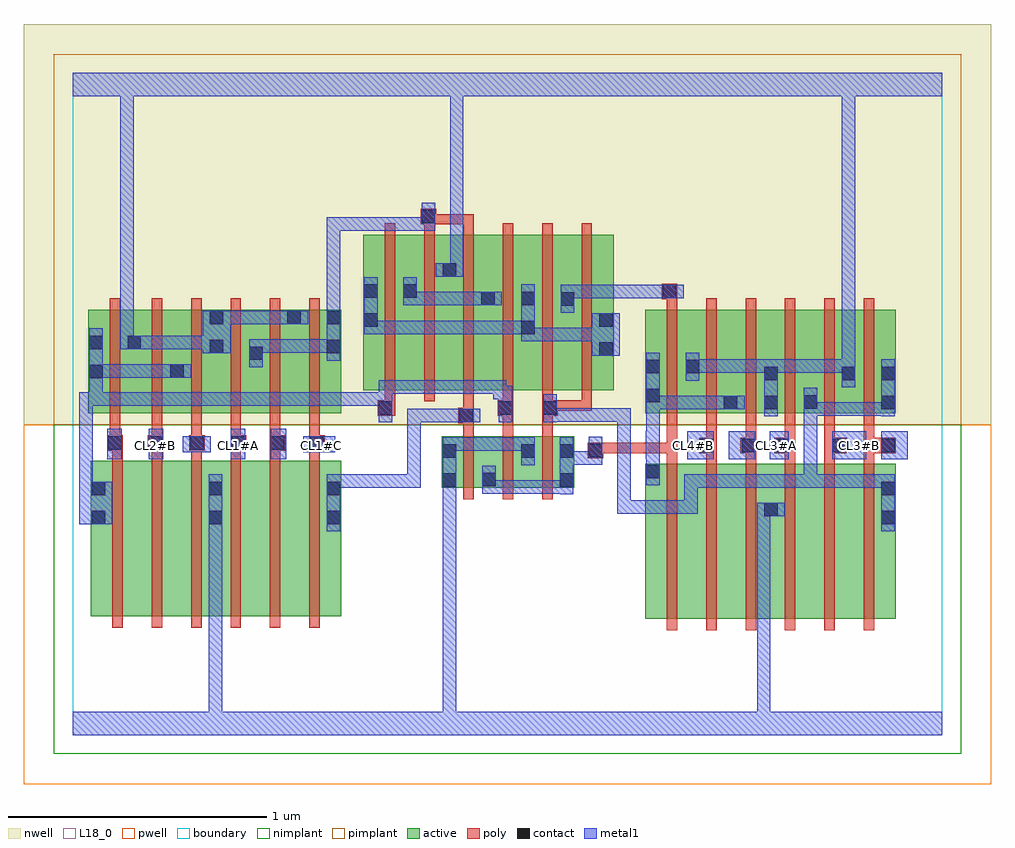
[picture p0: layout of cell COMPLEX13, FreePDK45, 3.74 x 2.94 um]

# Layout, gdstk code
import gdstk
lib = gdstk.Library(unit=1e-6, precision=1e-09)
def R(c, l, rs):  # rectangles x0, y0, x1, y1
    for r in rs: c.add(gdstk.rectangle(r[:2], r[2:], *l))
def A(c, l, x, y, w, h, nx, ny, dx, dy):  # array of equal rectangles
    R(c, l, [(x+i*dx, y+j*dy, x+i*dx+w, y+j*dy+h) for i in range(nx) for j in range(ny)])
active = (1, 0)
pwell = (2, 0)
nwell = (3, 0)
nimplant = (4, 0)
pimplant = (5, 0)
poly = (9, 0)
contact = (10, 0)
metal1 = (11, 0)
L18_0 = (18, 0)
boundary = (235, 0)

complex13 = lib.new_cell('COMPLEX13')
A(complex13, active, 1.426, 0.956, 0.06, 0.2, 3, 1, 0.152, 0)
R(complex13, active, [(2.212,0.45,2.392,1.05), (2.392,0.45,2.544,1.05), (2.544,0.45,2.728,1.05), (2.668,0.45,2.848,1.05), (2.848,0.45,3,1.05), (3,0.45,3.18,1.05), (0.07,0.46,0.25,1.06), (0.25,0.46,0.402,1.06), (0.402,0.46,0.582,1.06), (0.522,0.46,0.706,1.06), (0.522,0.46,0.582,1.06), (0.706,0.46,0.858,1.06), (0.858,0.46,1.038,1.06), (0.07,0.556,0.13,1.06), (0.978,0.556,1.038,1.06), (2.212,0.556,2.272,1.05), (2.668,0.556,2.728,0.956), (3.12,0.556,3.18,1.05), (1.426,0.956,1.638,1.156), (1.578,0.956,1.79,1.156), (1.73,0.956,1.938,1.156), (1.878,0.956,1.938,1.156), (0.06,1.244,0.12,1.644), (0.06,1.244,0.268,1.644), (0.208,1.244,0.268,1.644), (0.208,1.244,0.434,1.644), (0.374,1.244,0.586,1.644), (0.526,1.244,0.586,1.644), (0.526,1.244,0.738,1.644), (0.678,1.244,0.738,1.644), (0.678,1.244,0.886,1.644), (0.826,1.244,0.886,1.644), (0.826,1.244,1.038,1.644), (0.978,1.244,1.038,1.644), (2.212,1.244,2.272,1.644), (2.212,1.244,2.424,1.644), (2.364,1.244,2.424,1.644), (2.364,1.244,2.572,1.644), (2.512,1.244,2.572,1.644), (2.512,1.244,2.728,1.644), (2.668,1.244,2.728,1.644), (2.668,1.244,2.88,1.644), (2.82,1.244,2.88,1.644), (2.82,1.244,3.028,1.644), (2.968,1.244,3.028,1.644), (2.968,1.244,3.18,1.644), (3.12,1.244,3.18,1.644), (1.122,1.334,1.182,1.844), (1.122,1.334,1.334,1.934), (1.274,1.334,1.486,1.934), (1.426,1.334,1.634,1.934), (1.574,1.334,1.79,1.934), (1.73,1.334,1.942,1.934), (1.882,1.334,2.09,1.934), (2.03,1.334,2.09,1.844), (0.374,1.378,0.434,1.644), (1.73,1.546,1.79,1.904), (1.882,1.656,1.942,1.844), (1.574,1.658,1.634,1.844), (1.274,1.686,1.334,1.844), (1.426,1.768,1.486,1.844)])
R(complex13, pwell, [(-0.188,-0.188,3.548,1.2)])
R(complex13, nwell, [(-0.188,1.2,3.548,2.748)])
R(complex13, nimplant, [(-0.072,-0.072,3.432,1.2)])
R(complex13, pimplant, [(-0.072,1.2,3.432,2.632)])
A(complex13, poly, 2.296, 0.406, 0.04, 0.688, 6, 1, 0.152, 0)
A(complex13, poly, 0.154, 0.416, 0.04, 0.688, 6, 1, 0.152, 0)
A(complex13, poly, 1.51, 0.912, 0.04, 0.288, 3, 1, 0.152, 0)
A(complex13, poly, 2.296, 1.054, 0.04, 0.076, 6, 1, 0.152, 0)
A(complex13, poly, 0.154, 1.064, 0.04, 0.076, 6, 1, 0.152, 0)
A(complex13, poly, 0.29, 1.1, 0.06, 0.06, 3, 1, 0.16, 0)
A(complex13, poly, 2.448, 1.11, 0.04, 0.13, 5, 1, 0.152, 0)
A(complex13, poly, 0.306, 1.12, 0.04, 0.12, 5, 1, 0.152, 0)
A(complex13, poly, 0.306, 1.2, 0.04, 0.488, 5, 1, 0.152, 0)
A(complex13, poly, 2.296, 1.2, 0.04, 0.488, 6, 1, 0.152, 0)
A(complex13, poly, 1.662, 1.254, 0.04, 0.076, 3, 1, 0.152, 0)
A(complex13, poly, 1.206, 1.29, 0.04, 0.688, 6, 1, 0.152, 0)
R(complex13, poly, [(1.99,1.07,2.05,1.13), (2.01,1.09,2.05,1.13), (2.01,1.09,2.05,1.13), (2.01,1.09,2.05,1.13), (2.01,1.09,2.05,1.13), (2.01,1.09,2.05,1.13), (2.01,1.09,2.05,1.13), (2.01,1.09,2.336,1.13), (2.296,1.09,2.336,1.13), (2.296,1.09,2.336,1.13), (2.296,1.09,2.336,1.13), (2.296,1.09,2.336,1.13), (2.296,1.09,2.336,1.13), (2.296,1.09,2.336,1.24), (2.42,1.09,2.488,1.15), (2.58,1.09,2.64,1.15), (2.6,1.09,2.64,1.13), (2.6,1.09,2.64,1.13), (2.71,1.09,2.792,1.15), (2.752,1.09,2.792,1.13), (2.752,1.09,2.792,1.13), (2.904,1.09,2.99,1.15), (3.056,1.09,3.18,1.15), (0.134,1.1,0.194,1.16), (0.762,1.1,0.822,1.16), (0.914,1.1,0.974,1.16), (2.448,1.11,2.488,1.15), (2.448,1.11,2.488,1.15), (2.904,1.11,2.944,1.15), (2.904,1.11,2.944,1.15), (3.056,1.11,3.096,1.15), (3.056,1.11,3.096,1.15), (0.144,1.12,0.184,1.16), (0.144,1.12,0.184,1.16), (0.144,1.12,0.184,1.24), (0.306,1.12,0.346,1.16), (0.306,1.12,0.346,1.16), (0.458,1.12,0.498,1.16), (0.458,1.12,0.498,1.16), (0.61,1.12,0.65,1.16), (0.61,1.12,0.65,1.16), (0.762,1.12,0.802,1.16), (0.762,1.12,0.802,1.16), (0.914,1.12,0.954,1.16), (0.914,1.12,0.954,1.16), (1.51,1.16,1.55,1.246), (1.662,1.16,1.702,1.274), (1.814,1.16,1.854,1.274), (0.144,1.2,0.184,1.688), (1.49,1.206,1.55,1.266), (1.51,1.226,1.55,1.266), (1.51,1.226,1.55,1.266), (1.51,1.226,1.55,1.33), (1.178,1.234,1.246,1.294), (1.642,1.234,1.702,1.294), (1.662,1.234,1.702,1.274), (1.662,1.234,1.702,1.274), (1.814,1.234,1.874,1.294), (1.206,1.254,1.246,1.33), (1.814,1.254,1.854,1.294), (1.814,1.254,1.854,1.294), (1.814,1.254,1.854,1.294), (1.814,1.254,1.854,1.294), (1.814,1.254,2.006,1.294), (1.966,1.254,2.006,1.294), (2.296,1.648,2.336,1.724), (2.276,1.684,2.336,1.744), (1.358,1.938,1.398,2.014), (1.51,1.938,1.55,2.014), (1.344,1.974,1.404,2.034), (1.364,1.974,1.55,2.014), (1.51,1.974,1.55,2.014), (1.51,1.974,1.55,2.014), (1.51,1.974,1.55,2.014)])
A(complex13, contact, 3.124, 0.928, 0.052, 0.052, 1, 3, 0, 0.166)
A(complex13, contact, 0.294, 1.104, 0.052, 0.052, 3, 1, 0.16, 0)
R(complex13, contact, [(0.074,0.816,0.126,0.868), (0.526,0.816,0.578,0.868), (0.982,0.816,1.034,0.868), (3.124,0.816,3.176,0.868), (2.672,0.846,2.724,0.898), (0.074,0.928,0.126,0.98), (0.526,0.928,0.578,0.98), (0.982,0.928,1.034,0.98), (1.43,0.96,1.482,1.012), (1.882,0.96,1.934,1.012), (1.582,0.962,1.634,1.014), (2.216,0.994,2.268,1.046), (1.43,1.072,1.482,1.124), (1.734,1.072,1.786,1.124), (1.882,1.072,1.934,1.124), (1.994,1.074,2.046,1.126), (2.424,1.094,2.476,1.146), (2.584,1.094,2.636,1.146), (2.714,1.094,2.766,1.146), (2.934,1.094,2.986,1.146), (0.138,1.104,0.19,1.156), (0.766,1.104,0.818,1.156), (0.918,1.104,0.97,1.156), (1.494,1.21,1.546,1.262), (1.182,1.238,1.234,1.29), (1.646,1.238,1.698,1.29), (1.818,1.238,1.87,1.29), (2.516,1.26,2.568,1.312), (2.672,1.26,2.724,1.312), (2.824,1.262,2.876,1.314), (2.216,1.286,2.268,1.338), (2.672,1.372,2.724,1.424), (2.972,1.372,3.024,1.424), (3.124,1.372,3.176,1.424), (0.064,1.38,0.116,1.432), (0.378,1.382,0.43,1.434), (2.216,1.398,2.268,1.45), (2.368,1.398,2.42,1.45), (0.682,1.45,0.734,1.502), (2.034,1.466,2.086,1.518), (0.53,1.476,0.582,1.528), (0.982,1.476,1.034,1.528), (0.064,1.492,0.116,1.544), (0.212,1.492,0.264,1.544), (1.734,1.55,1.786,1.602), (1.126,1.578,1.178,1.63), (2.034,1.578,2.086,1.63), (0.53,1.588,0.582,1.64), (0.83,1.588,0.882,1.64), (0.982,1.588,1.034,1.64), (1.886,1.66,1.938,1.712), (1.578,1.662,1.63,1.714), (1.734,1.662,1.786,1.714), (2.28,1.688,2.332,1.74), (1.126,1.69,1.178,1.742), (1.278,1.69,1.33,1.742), (1.43,1.772,1.482,1.824), (1.348,1.978,1.4,2.03)])
R(complex13, metal1, [(0,0,3.36,0.092), (0.526,0.04,0.578,0.84), (1.43,0.04,1.482,0.092), (1.43,0.04,1.482,0.092), (1.43,0.04,1.482,0.092), (1.43,0.04,1.482,0.092), (1.43,0.04,1.482,0.092), (1.43,0.04,1.482,0.092), (1.43,0.04,1.482,0.092), (1.43,0.04,1.482,0.092), (1.43,0.04,1.482,0.092), (1.43,0.04,1.482,0.092), (1.43,0.04,1.482,0.092), (1.43,0.04,1.482,0.092), (1.43,0.04,1.482,0.092), (1.43,0.04,1.482,0.092), (1.43,0.04,1.482,0.092), (1.43,0.04,1.482,0.092), (1.43,0.04,1.482,0.984), (2.644,0.04,2.696,0.092), (2.644,0.04,2.696,0.092), (2.644,0.04,2.696,0.092), (2.644,0.04,2.696,0.092), (2.644,0.04,2.696,0.092), (2.644,0.04,2.696,0.092), (2.644,0.04,2.696,0.898), (0.526,0.788,0.578,0.84), (0.526,0.788,0.578,0.84), (0.526,0.788,0.578,0.84), (0.526,0.788,0.578,0.84), (0.526,0.788,0.578,0.84), (0.526,0.788,0.578,0.84), (0.526,0.788,0.578,0.84), (0.526,0.788,0.578,0.84), (0.526,0.788,0.578,1.008), (0.982,0.788,1.034,1.008), (3.124,0.788,3.176,1.008), (0.026,0.816,0.154,0.98), (2.644,0.846,2.696,0.898), (2.644,0.846,2.696,0.898), (2.644,0.846,2.752,0.898), (2.104,0.856,2.156,0.908), (2.104,0.856,2.266,0.908), (2.104,0.856,2.156,1.264), (2.214,0.856,2.266,0.908), (2.214,0.856,2.266,0.908), (2.214,0.856,2.266,0.908), (2.214,0.856,2.414,0.908), (2.362,0.856,2.414,0.908), (2.362,0.856,2.414,1.008), (0.026,0.928,0.078,1.326), (1.43,0.932,1.482,1.152), (1.882,0.932,1.934,1.152), (1.582,0.934,1.634,1.042), (1.582,0.934,1.692,0.986), (1.64,0.934,1.692,0.986), (1.64,0.934,1.786,0.986), (1.734,0.934,1.786,0.986), (1.734,0.934,1.934,0.986), (1.882,0.934,1.934,0.986), (1.882,0.934,1.934,0.986), (0.982,0.956,1.144,1.008), (1.092,0.956,1.144,1.008), (1.092,0.956,1.144,1.008), (1.092,0.956,1.144,1.008), (1.092,0.956,1.344,1.008), (1.292,0.956,1.344,1.008), (1.292,0.956,1.344,1.262), (2.362,0.956,2.414,1.008), (2.362,0.956,2.414,1.008), (2.362,0.956,2.414,1.008), (2.362,0.956,2.586,1.008), (2.534,0.956,2.586,1.008), (2.534,0.956,2.586,1.008), (2.534,0.956,2.586,1.008), (2.534,0.956,2.766,1.008), (2.714,0.956,2.766,1.008), (2.714,0.956,2.876,1.008), (2.824,0.956,2.876,1.008), (2.824,0.956,2.876,1.008), (2.824,0.956,2.876,1.008), (2.824,0.956,3.066,1.008), (2.824,0.956,2.876,1.286), (3.014,0.956,3.066,1.008), (3.014,0.956,3.066,1.008), (3.014,0.956,3.066,1.008), (3.014,0.956,3.176,1.008), (3.124,0.956,3.176,1.008), (3.124,0.956,3.176,1.008), (2.216,0.966,2.268,1.074), (2.216,1.022,2.268,1.118), (1.734,1.044,1.786,1.152), (1.882,1.046,2.046,1.098), (1.994,1.046,2.046,1.154), (0.134,1.066,0.19,1.184), (0.294,1.066,0.35,1.184), (0.61,1.066,0.666,1.184), (0.766,1.066,0.826,1.184), (2.214,1.066,2.268,1.174), (2.374,1.066,2.476,1.174), (2.534,1.066,2.636,1.174), (2.694,1.066,2.766,1.174), (2.934,1.066,3.066,1.174), (3.124,1.066,3.226,1.174), (0.426,1.094,0.534,1.156), (0.89,1.094,1.014,1.156), (1.43,1.1,1.482,1.152), (1.43,1.1,1.482,1.152), (1.43,1.1,1.558,1.152), (1.506,1.1,1.558,1.152), (1.506,1.1,1.668,1.152), (1.616,1.1,1.668,1.152), (1.616,1.1,1.668,1.152), (1.616,1.1,1.668,1.152), (1.616,1.1,1.786,1.152), (2.216,1.122,2.268,1.31), (1.182,1.21,1.234,1.372), (1.292,1.21,1.344,1.262), (1.292,1.21,1.344,1.262), (1.292,1.21,1.344,1.262), (1.292,1.21,1.454,1.262), (1.402,1.21,1.454,1.262), (1.402,1.21,1.518,1.262), (1.466,1.21,1.574,1.262), (1.646,1.21,1.698,1.35), (1.818,1.21,1.87,1.318), (1.818,1.212,1.948,1.264), (1.896,1.212,1.948,1.264), (1.896,1.212,1.948,1.264), (1.896,1.212,1.948,1.264), (1.896,1.212,2.156,1.264), (2.104,1.212,2.156,1.264), (2.104,1.212,2.156,1.264), (2.104,1.212,2.156,1.264), (2.672,1.232,2.724,1.452), (3.124,1.232,3.176,1.452), (2.824,1.234,2.876,1.286), (2.824,1.234,2.876,1.286), (2.824,1.234,2.876,1.286), (2.824,1.234,2.876,1.286), (2.824,1.234,2.876,1.342), (2.824,1.234,3.066,1.286), (3.014,1.234,3.066,1.286), (3.014,1.234,3.066,1.286), (3.014,1.234,3.066,1.286), (3.014,1.234,3.176,1.286), (3.124,1.234,3.176,1.286), (3.124,1.234,3.176,1.286), (2.216,1.258,2.268,1.31), (2.216,1.258,2.268,1.31), (2.216,1.258,2.268,1.478), (2.216,1.26,2.268,1.312), (2.216,1.26,2.268,1.312), (2.216,1.26,2.43,1.312), (2.378,1.26,2.43,1.312), (2.378,1.26,2.456,1.312), (2.404,1.26,2.456,1.312), (2.404,1.26,2.54,1.312), (2.488,1.26,2.596,1.312), (0.026,1.274,0.078,1.326), (0.026,1.274,0.078,1.326), (0.026,1.274,0.116,1.326), (0.064,1.274,0.116,1.326), (0.064,1.274,0.116,1.326), (0.064,1.274,0.264,1.326), (0.064,1.274,0.116,1.404), (0.212,1.274,0.264,1.326), (0.212,1.274,0.264,1.326), (0.212,1.274,0.264,1.326), (0.212,1.274,0.402,1.326), (0.35,1.274,0.402,1.326), (0.35,1.274,0.402,1.326), (0.35,1.274,0.402,1.326), (0.35,1.274,0.54,1.326), (0.488,1.274,0.54,1.326), (0.488,1.274,0.54,1.326), (0.488,1.274,0.54,1.326), (0.488,1.274,0.734,1.326), (0.682,1.274,0.734,1.326), (0.682,1.274,0.832,1.326), (0.78,1.274,0.832,1.326), (0.78,1.274,0.844,1.326), (0.792,1.274,0.844,1.326), (0.792,1.274,1.034,1.326), (0.982,1.274,1.034,1.326), (0.982,1.274,1.034,1.326), (0.982,1.274,1.034,1.326), (0.982,1.274,1.22,1.326), (1.168,1.274,1.22,1.326), (1.168,1.274,1.234,1.326), (1.624,1.298,1.698,1.35), (1.624,1.298,1.676,1.372), (1.182,1.32,1.344,1.372), (1.292,1.32,1.344,1.372), (1.292,1.32,1.344,1.372), (1.292,1.32,1.344,1.372), (1.292,1.32,1.454,1.372), (1.402,1.32,1.454,1.372), (1.402,1.32,1.51,1.372), (1.458,1.32,1.51,1.372), (1.458,1.32,1.676,1.372), (2.972,1.344,3.024,1.452), (0.064,1.352,0.116,1.572), (2.368,1.37,2.42,1.478), (0.064,1.382,0.116,1.434), (0.064,1.382,0.116,1.434), (0.064,1.382,0.292,1.434), (0.24,1.382,0.292,1.434), (0.24,1.382,0.292,1.434), (0.24,1.382,0.292,1.434), (0.24,1.382,0.402,1.434), (0.35,1.382,0.458,1.434), (2.368,1.4,2.42,1.452), (2.368,1.4,2.42,1.452), (2.368,1.4,2.586,1.452), (2.534,1.4,2.586,1.452), (2.534,1.4,2.586,1.452), (2.534,1.4,2.586,1.452), (2.534,1.4,2.724,1.452), (2.672,1.4,2.724,1.452), (2.672,1.4,2.724,1.452), (2.672,1.4,2.876,1.452), (2.824,1.4,2.876,1.452), (2.824,1.4,3.024,1.452), (2.972,1.4,3.024,1.452), (2.972,1.4,3.024,1.452), (2.972,1.4,3.024,1.452), (2.972,1.4,3.024,1.452), (2.972,1.4,3.024,1.452), (2.972,1.4,3.024,1.452), (2.972,1.4,3.024,1.452), (2.972,1.4,3.024,1.452), (2.972,1.4,3.024,1.452), (2.972,1.4,3.024,1.452), (2.972,1.4,3.024,2.52), (0.682,1.422,0.734,1.53), (0.982,1.448,1.034,1.668), (2.006,1.466,2.114,1.63), (0.502,1.476,0.61,1.64), (0.682,1.478,0.734,1.53), (0.682,1.478,0.734,1.53), (0.682,1.478,0.844,1.53), (0.792,1.478,0.844,1.53), (0.792,1.478,1.034,1.53), (0.982,1.478,1.034,1.53), (0.982,1.478,1.034,1.53), (0.184,1.492,0.292,1.544), (0.184,1.492,0.236,2.52), (0.24,1.492,0.292,1.544), (0.24,1.492,0.292,1.544), (0.24,1.492,0.43,1.544), (0.378,1.492,0.43,1.544), (0.378,1.492,0.43,1.544), (0.378,1.492,0.43,1.544), (0.378,1.492,0.554,1.544), (1.734,1.522,1.786,1.742), (1.734,1.522,1.858,1.574), (1.806,1.522,1.858,1.574), (1.806,1.522,1.896,1.574), (1.844,1.522,1.896,1.574), (1.844,1.522,2.058,1.574), (2.006,1.522,2.058,1.574), (2.006,1.522,2.058,1.574), (1.126,1.55,1.178,1.602), (1.126,1.55,1.178,1.602), (1.126,1.55,1.178,1.77), (1.126,1.55,1.344,1.602), (1.292,1.55,1.344,1.602), (1.292,1.55,1.344,1.602), (1.292,1.55,1.344,1.602), (1.292,1.55,1.454,1.602), (1.402,1.55,1.454,1.602), (1.402,1.55,1.51,1.602), (1.458,1.55,1.51,1.602), (1.458,1.55,1.676,1.602), (1.624,1.55,1.676,1.602), (1.624,1.55,1.748,1.602), (1.696,1.55,1.748,1.602), (1.696,1.55,1.786,1.602), (0.558,1.588,0.61,1.64), (0.558,1.588,0.61,1.64), (0.558,1.588,0.734,1.64), (0.682,1.588,0.734,1.64), (0.682,1.588,0.734,1.64), (0.682,1.588,0.734,1.64), (0.682,1.588,0.854,1.64), (0.802,1.588,0.91,1.64), (0.982,1.616,1.034,1.668), (0.982,1.616,1.034,1.668), (0.982,1.616,1.034,1.668), (0.982,1.616,1.034,1.668), (0.982,1.616,1.034,2.002), (1.886,1.632,1.938,1.74), (1.278,1.662,1.33,1.77), (1.278,1.662,1.344,1.714), (1.292,1.662,1.344,1.714), (1.292,1.662,1.492,1.714), (1.44,1.662,1.492,1.714), (1.44,1.662,1.51,1.714), (1.458,1.662,1.51,1.714), (1.458,1.662,1.602,1.714), (1.55,1.662,1.658,1.714), (1.886,1.688,2.058,1.74), (2.006,1.688,2.058,1.74), (2.006,1.688,2.058,1.74), (2.006,1.688,2.058,1.74), (2.006,1.688,2.304,1.74), (2.252,1.688,2.304,1.74), (2.252,1.688,2.304,1.74), (2.252,1.688,2.36,1.74), (1.402,1.772,1.51,1.824), (1.458,1.772,1.51,1.824), (1.458,1.772,1.51,1.824), (1.458,1.772,1.51,1.824), (1.458,1.772,1.51,1.824), (1.458,1.772,1.51,1.824), (1.458,1.772,1.51,1.824), (1.458,1.772,1.51,1.824), (1.458,1.772,1.51,1.824), (1.458,1.772,1.51,1.824), (1.458,1.772,1.51,1.824), (1.458,1.772,1.51,2.52), (0.982,1.95,1.034,2.002), (0.982,1.95,1.034,2.002), (0.982,1.95,1.034,2.002), (0.982,1.95,1.034,2.002), (0.982,1.95,1.034,2.002), (0.982,1.95,1.144,2.002), (1.092,1.95,1.144,2.002), (1.092,1.95,1.144,2.002), (1.092,1.95,1.144,2.002), (1.092,1.95,1.344,2.002), (1.292,1.95,1.344,2.002), (1.292,1.95,1.344,2.002), (1.292,1.95,1.344,2.002), (1.292,1.95,1.4,2.002), (1.348,1.95,1.4,2.058), (0,2.468,3.36,2.56), (0.184,2.468,0.236,2.52), (0.184,2.468,0.236,2.52), (0.184,2.468,0.236,2.52), (0.184,2.468,0.236,2.52), (0.184,2.468,0.236,2.52), (0.184,2.468,0.236,2.52), (0.184,2.468,0.236,2.52), (0.184,2.468,0.236,2.52), (0.184,2.468,0.236,2.52), (0.184,2.468,0.236,2.52), (0.184,2.468,0.236,2.52), (0.184,2.468,0.236,2.52), (0.184,2.468,0.236,2.52), (0.184,2.468,0.236,2.52), (0.184,2.468,0.236,2.52), (0.184,2.468,0.236,2.52), (1.458,2.468,1.51,2.52), (1.458,2.468,1.51,2.52), (2.972,2.468,3.024,2.52), (2.972,2.468,3.024,2.52), (2.972,2.468,3.024,2.52), (2.972,2.468,3.024,2.52), (2.972,2.468,3.024,2.52), (2.972,2.468,3.024,2.52), (2.972,2.468,3.024,2.52), (2.972,2.468,3.024,2.52)])
A(complex13, L18_0, 0.134, 1.094, 0.052, 0.052, 6, 1, 0.16, 0)
A(complex13, L18_0, 2.214, 1.094, 0.052, 0.052, 4, 1, 0.16, 0)
R(complex13, L18_0, [(0,0,3.36,0.092), (0.526,0.04,0.578,0.84), (1.43,0.04,1.482,0.092), (1.43,0.04,1.482,0.092), (1.43,0.04,1.482,0.092), (1.43,0.04,1.482,0.092), (1.43,0.04,1.482,0.092), (1.43,0.04,1.482,0.092), (1.43,0.04,1.482,0.092), (1.43,0.04,1.482,0.092), (1.43,0.04,1.482,0.092), (1.43,0.04,1.482,0.092), (1.43,0.04,1.482,0.092), (1.43,0.04,1.482,0.092), (1.43,0.04,1.482,0.092), (1.43,0.04,1.482,0.092), (1.43,0.04,1.482,0.092), (1.43,0.04,1.482,0.092), (1.43,0.04,1.482,0.984), (2.644,0.04,2.696,0.092), (2.644,0.04,2.696,0.092), (2.644,0.04,2.696,0.092), (2.644,0.04,2.696,0.092), (2.644,0.04,2.696,0.092), (2.644,0.04,2.696,0.092), (2.644,0.04,2.696,0.898), (0.526,0.788,0.578,0.84), (0.526,0.788,0.578,0.84), (0.526,0.788,0.578,0.84), (0.526,0.788,0.578,0.84), (0.526,0.788,0.578,0.84), (0.526,0.788,0.578,0.84), (0.526,0.788,0.578,0.84), (0.526,0.788,0.578,0.84), (0.526,0.788,0.578,1.008), (2.644,0.846,2.752,0.898), (2.644,0.846,2.696,0.898), (2.644,0.846,2.696,0.898), (1.43,0.932,1.482,1.152), (2.216,0.966,2.268,1.074), (2.216,1.022,2.268,1.118), (1.734,1.044,1.786,1.152), (0.134,1.066,0.19,1.184), (0.294,1.066,0.35,1.184), (0.61,1.066,0.666,1.184), (0.766,1.066,0.826,1.184), (2.214,1.066,2.268,1.174), (2.374,1.066,2.476,1.174), (2.534,1.066,2.636,1.174), (2.694,1.066,2.766,1.174), (2.934,1.066,3.066,1.174), (3.124,1.066,3.226,1.174), (0.426,1.094,0.534,1.156), (0.89,1.094,1.014,1.156), (3.014,1.094,3.066,1.146), (3.174,1.094,3.226,1.146), (1.43,1.1,1.482,1.152), (1.43,1.1,1.482,1.152), (1.43,1.1,1.558,1.152), (1.506,1.1,1.558,1.152), (1.506,1.1,1.668,1.152), (1.616,1.1,1.668,1.152), (1.616,1.1,1.668,1.152), (1.616,1.1,1.668,1.152), (1.616,1.1,1.786,1.152), (2.216,1.122,2.268,1.31), (2.672,1.232,2.724,1.452), (2.216,1.258,2.268,1.31), (2.216,1.258,2.268,1.31), (2.216,1.258,2.268,1.478), (2.216,1.26,2.268,1.312), (2.216,1.26,2.268,1.312), (2.216,1.26,2.43,1.312), (2.378,1.26,2.43,1.312), (2.378,1.26,2.456,1.312), (2.404,1.26,2.456,1.312), (2.404,1.26,2.54,1.312), (2.488,1.26,2.596,1.312), (2.972,1.344,3.024,1.452), (2.368,1.37,2.42,1.478), (2.368,1.4,2.42,1.452), (2.368,1.4,2.42,1.452), (2.368,1.4,2.586,1.452), (2.534,1.4,2.586,1.452), (2.534,1.4,2.586,1.452), (2.534,1.4,2.586,1.452), (2.534,1.4,2.724,1.452), (2.672,1.4,2.724,1.452), (2.672,1.4,2.724,1.452), (2.672,1.4,2.876,1.452), (2.824,1.4,2.876,1.452), (2.824,1.4,3.024,1.452), (2.972,1.4,3.024,1.452), (2.972,1.4,3.024,1.452), (2.972,1.4,3.024,1.452), (2.972,1.4,3.024,1.452), (2.972,1.4,3.024,1.452), (2.972,1.4,3.024,1.452), (2.972,1.4,3.024,1.452), (2.972,1.4,3.024,1.452), (2.972,1.4,3.024,1.452), (2.972,1.4,3.024,1.452), (2.972,1.4,3.024,2.52), (0.502,1.476,0.61,1.64), (0.184,1.492,0.292,1.544), (0.184,1.492,0.236,2.52), (0.24,1.492,0.292,1.544), (0.24,1.492,0.292,1.544), (0.24,1.492,0.43,1.544), (0.378,1.492,0.43,1.544), (0.378,1.492,0.43,1.544), (0.378,1.492,0.43,1.544), (0.378,1.492,0.554,1.544), (0.558,1.588,0.61,1.64), (0.558,1.588,0.61,1.64), (0.558,1.588,0.734,1.64), (0.682,1.588,0.734,1.64), (0.682,1.588,0.734,1.64), (0.682,1.588,0.734,1.64), (0.682,1.588,0.854,1.64), (0.802,1.588,0.91,1.64), (1.402,1.772,1.51,1.824), (1.458,1.772,1.51,1.824), (1.458,1.772,1.51,1.824), (1.458,1.772,1.51,1.824), (1.458,1.772,1.51,1.824), (1.458,1.772,1.51,1.824), (1.458,1.772,1.51,1.824), (1.458,1.772,1.51,1.824), (1.458,1.772,1.51,1.824), (1.458,1.772,1.51,1.824), (1.458,1.772,1.51,1.824), (1.458,1.772,1.51,2.52), (0,2.468,3.36,2.56), (0.184,2.468,0.236,2.52), (0.184,2.468,0.236,2.52), (0.184,2.468,0.236,2.52), (0.184,2.468,0.236,2.52), (0.184,2.468,0.236,2.52), (0.184,2.468,0.236,2.52), (0.184,2.468,0.236,2.52), (0.184,2.468,0.236,2.52), (0.184,2.468,0.236,2.52), (0.184,2.468,0.236,2.52), (0.184,2.468,0.236,2.52), (0.184,2.468,0.236,2.52), (0.184,2.468,0.236,2.52), (0.184,2.468,0.236,2.52), (0.184,2.468,0.236,2.52), (0.184,2.468,0.236,2.52), (1.458,2.468,1.51,2.52), (1.458,2.468,1.51,2.52), (2.972,2.468,3.024,2.52), (2.972,2.468,3.024,2.52), (2.972,2.468,3.024,2.52), (2.972,2.468,3.024,2.52), (2.972,2.468,3.024,2.52), (2.972,2.468,3.024,2.52), (2.972,2.468,3.024,2.52), (2.972,2.468,3.024,2.52)])
R(complex13, boundary, [(0,0,3.36,2.56)])
complex13.add(gdstk.Label('CL1#A', (0.64,1.12), layer=11, texttype=0))
complex13.add(gdstk.Label('CL1#B', (0.8,1.12), layer=11, texttype=0))
complex13.add(gdstk.Label('CL1#C', (0.96,1.12), layer=11, texttype=0))
complex13.add(gdstk.Label('CL2#A', (0.48,1.12), layer=11, texttype=0))
complex13.add(gdstk.Label('CL2#B', (0.32,1.12), layer=11, texttype=0))
complex13.add(gdstk.Label('CL2#C', (0.16,1.12), layer=11, texttype=0))
complex13.add(gdstk.Label('CL3#A', (2.72,1.12), layer=11, texttype=0))
complex13.add(gdstk.Label('CL3#B', (3.04,1.12), layer=11, texttype=0))
complex13.add(gdstk.Label('CL3#C', (3.2,1.12), layer=11, texttype=0))
complex13.add(gdstk.Label('CL4#A', (2.56,1.12), layer=11, texttype=0))
complex13.add(gdstk.Label('CL4#B', (2.4,1.12), layer=11, texttype=0))
complex13.add(gdstk.Label('CL4#Y', (2.24,1.12), layer=11, texttype=0))

lib.write_gds('COMPLEX13.gds')
